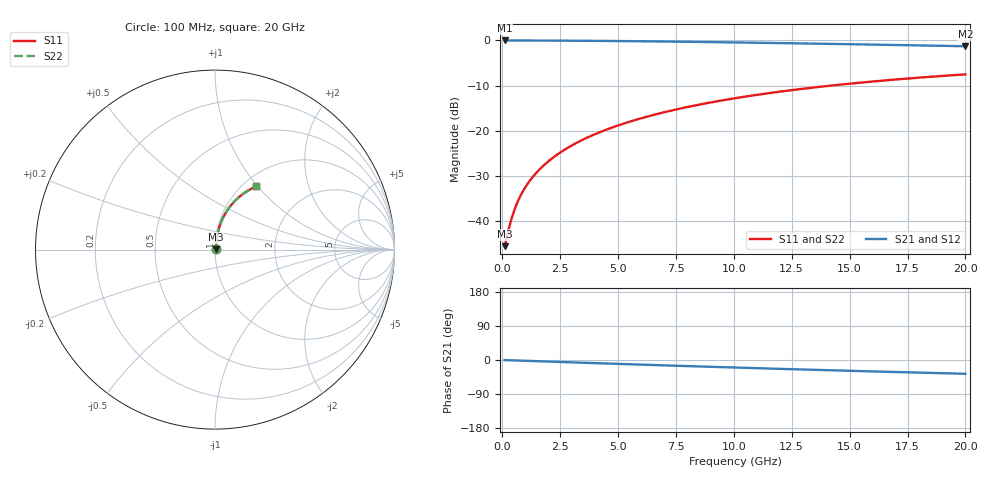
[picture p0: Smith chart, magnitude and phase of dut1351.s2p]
! Touchstone file exported from HFSS 2024.1.0
!  File:  C:/UserFiles/LocalFiles/RDL_TSV_Batchsim/temp_RDL_bottom_1351_1780370255.aedt
!  Generated:  11:20:29 AM Jun  2, 2026
!  Design:  RDL_bottom
!  Project:  temp_RDL_bottom_1351_1780370255
!  Setup:  Setup1
!  Solution:  Sweep
! Variables:
!  dtsv = 10.80580581um
!  hbump = 3um
!  htsv = 80.25um
!  ldown = 430.74um
!  lrdl = 100um
!  p = 40
!  p1 = 53.16um
!  rhole = 1um
!  t = 450um
!  tdown = 2.24um
!  trdl = 3.915915916um
!  wdown = 15.04um
!  wrdl = 20um
# GHz S MA R 50.000000
! Terminal data exported
! Port[1] = RDL1_T1
! Port[2] = RDL1_T2
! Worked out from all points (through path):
!   200 points, 100 MHz to 20 GHz, reference 50 ohm
!   highest |S21| = -0.04 dB at 100 MHz (marker M1); lowest = -1.3 dB at 20 GHz (marker M2)
!   group delay of S21, straight-line fit = 5.05 ps
!   lowest |S11| = -45.5 dB at 100 MHz (marker M3), VSWR 1.01, Z = 50.5 + j0.242 ohm
!   |S11| at or under -10 dB: start of sweep to 14.22 GHz
!   |S22| runs from -45.5 to -7.5 dB; largest |S21 - S12| = 3e-15
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0.1  0.005319 26.8  0.9952 -0.2  0.9952 -0.2  0.005319 26.8
! Gamma 0 0 0 0
! Port Impedance 50 0 50 0
0.3  0.008666 55.5  0.9951 -0.6  0.9951 -0.6  0.008666 55.5
0.4  0.01074 62.1  0.995 -0.9  0.995 -0.9  0.01074 62.1
0.5  0.01289 66.4  0.9948 -1.1  0.9948 -1.1  0.01289 66.4
0.6  0.01508 69.3  0.9947 -1.3  0.9947 -1.3  0.01508 69.3
0.7  0.01728 71.5  0.9945 -1.5  0.9945 -1.5  0.01728 71.5
0.9  0.02171 74.5  0.9942 -1.9  0.9942 -1.9  0.02171 74.5
1.2  0.02837 77.1  0.9936 -2.5  0.9936 -2.5  0.02837 77.1
1.4  0.03282 78.2  0.9932 -3.0  0.9932 -3.0  0.03282 78.2
1.7  0.03953 79.4  0.9926 -3.6  0.9926 -3.6  0.03953 79.4
2.2  0.05076 80.4  0.9914 -4.6  0.9914 -4.6  0.05076 80.4
2.8  0.06433 80.9  0.9896 -5.8  0.9896 -5.8  0.06433 80.9
3.5  0.08026 80.8  0.9871 -7.3  0.9871 -7.3  0.08026 80.8
4.2  0.09627 80.5  0.9842 -8.7  0.9842 -8.7  0.09627 80.5
5  0.1146 79.8  0.9804 -10.3  0.9804 -10.3  0.1146 79.8
5.9  0.1353 78.8  0.9754 -12.1  0.9754 -12.1  0.1353 78.8
6.8  0.1559 77.6  0.97 -13.8  0.97 -13.8  0.1559 77.6
8.4  0.1923 75.3  0.9592 -16.9  0.9592 -16.9  0.1923 75.3
10.1  0.2301 72.6  0.9465 -20.0  0.9465 -20.0  0.2301 72.6
13.4  0.2999 67.2  0.9191 -25.8  0.9191 -25.8  0.2999 67.2
16.7  0.3634 61.9  0.8896 -31.3  0.8896 -31.3  0.3634 61.9
20  0.4201 56.8  0.8592 -36.4  0.8592 -36.4  0.4201 56.8
